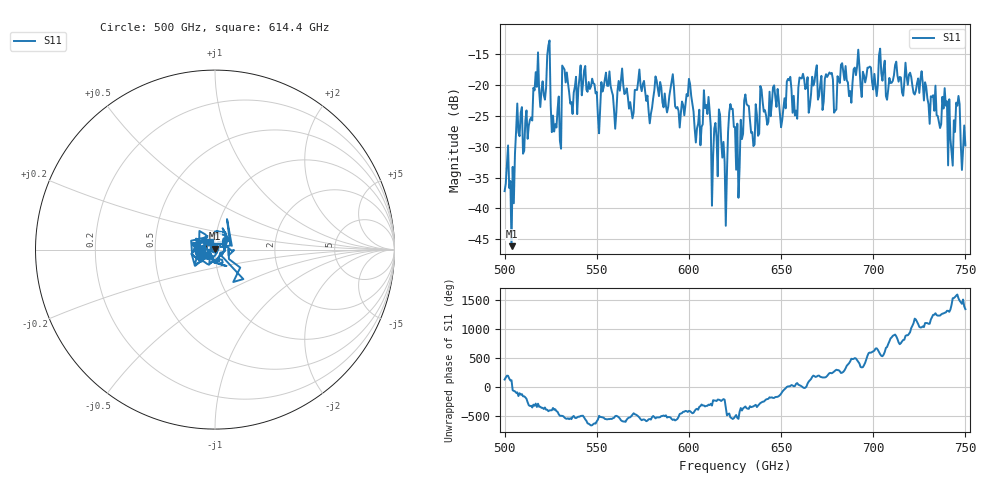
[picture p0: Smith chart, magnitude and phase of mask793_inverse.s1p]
!Created with skrf (http://scikit-rf.org).
# GHz S MA R 50.0
!freq magS11 angS11
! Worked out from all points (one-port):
!   401 points, 500 GHz to 750 GHz, reference 50 ohm
!   lowest |S11| = -46.1 dB at 503.8 GHz (marker M1), VSWR 1.01, Z = 49.8 + j0.457 ohm
!   |S11| at or under -10 dB: start of sweep to end of sweep
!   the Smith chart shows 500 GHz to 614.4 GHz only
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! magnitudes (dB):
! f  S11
! 500 GHz  -37.2
! 503.8 GHz  -46.1
! 507.5 GHz  -27.7
! 513.8 GHz  -25.7
! 516.9 GHz  -18.0
! 523.8 GHz  -13.7
! 526.9 GHz  -27.6
! 531.2 GHz  -16.9
! 532.5 GHz  -17.5
! 550.6 GHz  -25.1
! 562.5 GHz  -21.0
! 593.8 GHz  -23.6
! 609.4 GHz  -23.3
! 613.1 GHz  -31.5
! 617.5 GHz  -29.1
! 619.4 GHz  -32.5
! 622.5 GHz  -23.1
! 625 GHz  -26.8
! 626.2 GHz  -26.3
! 631.2 GHz  -23.1
! 634.4 GHz  -27.7
! 640 GHz  -22.8
! 656.2 GHz  -24.5
! 687.5 GHz  -21.0
! 718.8 GHz  -20.0
! 741.9 GHz  -28.7
! 745.6 GHz  -23.4
! 750 GHz  -29.8
